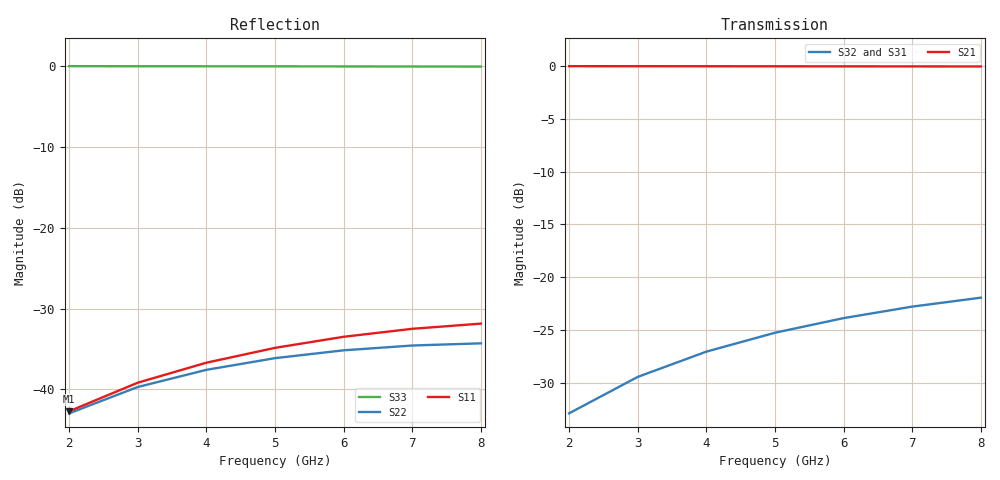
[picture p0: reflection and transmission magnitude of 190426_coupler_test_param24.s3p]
! Sonnet Data File
! From: emgraph Version : 16.56
! From Project: 190426_coupler_test
! Data is De-embedded
! Data File Written: 05/06/2019 15:59:44
!< HDATE 04/25/2019 10:48:44
!< MDATE 04/25/2019 10:59:35
!< PARAMS
!< tandelta = 0.0
!< t_aSi = 0.25
!< W = 10.0
!< Lcoupler = 2300.0
!< END PARAMS
# GHZ S MA R 50.0 !  non standard terminations in data
! TERM 50.00000 0.000000 50.00000 0.000000 63.84000 0.000000
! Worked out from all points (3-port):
!   7 points, 2 GHz to 8 GHz, reference 50 ohm
!   strongest paths, dB at 2 GHz, 3 GHz, 5 GHz, 7 GHz, 8 GHz:
!     S21: 0.0, 0.0, 0.0, 0.0, 0.0
!     S32: -32.9, -29.5, -25.3, -22.8, -21.9
!     S31: -32.9, -29.5, -25.4, -23.0, -22.1
!   lowest |S11| = -42.7 dB at 2 GHz (marker M1), VSWR 1.01, Z = 50.3 + j0.689 ohm
!   |S11| at or under -10 dB: start of sweep to end of sweep
2  0.007319 69.4  0.9997 -21.7  0.02255 50.7
   0.9997 -21.7  0.007113 70.9  0.02262 75.3
   0.02255 50.7  0.02262 75.3  0.9995 -32.7
3  0.011 58.5  0.9994 -32.6  0.03345 31.0
   0.9994 -32.6  0.01035 61.3  0.03366 67.8
   0.03345 31.0  0.03366 67.8  0.9989 -49.1
4  0.01463 46.8  0.9989 -43.4  0.04389 11.3
   0.9989 -43.4  0.01321 51.9  0.04434 60.3
   0.04389 11.3  0.04434 60.3  0.9981 -65.6
5  0.01807 34.4  0.9984 -54.2  0.05373 -8.4
   0.9984 -54.2  0.01561 42.5  0.0545 52.6
   0.05373 -8.4  0.0545 52.6  0.9971 -82.1
6  0.02116 21.3  0.9978 -65.1  0.06281 -28.2
   0.9978 -65.1  0.01745 33.2  0.06394 44.8
   0.06281 -28.2  0.06394 44.8  0.996 -98.7
7  0.02371 7.4  0.9972 -75.9  0.07099 -47.9
   0.9972 -75.9  0.01869 24.0  0.07247 36.9
   0.07099 -47.9  0.07247 36.9  0.9948 -115.4
8  0.02552 -7.3  0.9966 -86.7  0.07813 -67.7
   0.9966 -86.7  0.01928 15.0  0.0799 29.0
   0.07813 -67.7  0.0799 29.0  0.9937 -132.1
